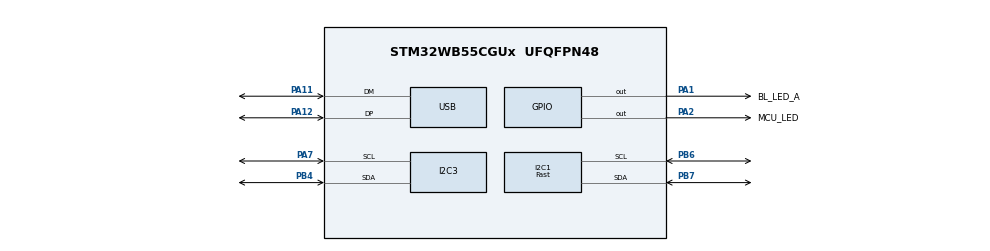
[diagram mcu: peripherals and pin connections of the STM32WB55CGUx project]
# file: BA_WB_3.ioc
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I2C1.I2C_Speed_Mode=I2C_Fast
I2C1.Timing=0x00C12166
I2C3.Timing=0x10B17DB5
Mcu.Family=STM32WB
Mcu.Name=STM32WB55CGUx
Mcu.Package=UFQFPN48
NVIC.HSEM_IRQn=true\:0\:0\:false\:false\:true\:false\:true\:true
NVIC.IPCC_C1_RX_IRQn=true\:0\:0\:false\:false\:true\:true\:true\:true
NVIC.IPCC_C1_TX_IRQn=true\:0\:0\:false\:false\:true\:true\:true\:true
NVIC.PriorityGroup=NVIC_PRIORITYGROUP_4
NVIC.USB_LP_IRQn=true\:0\:0\:false\:false\:true\:false\:true\:true
OSC_IN.Mode=HSE-External-Oscillator
OSC_IN.Signal=RCC_OSC_IN
OSC_OUT.Mode=HSE-External-Oscillator
OSC_OUT.Signal=RCC_OSC_OUT
PA1.GPIO_Label=BL_LED_A
PA1.Signal=GPIO_Output
PA11.Mode=Device
PA11.Signal=USB_DM
PA12.Mode=Device
PA12.Signal=USB_DP
PA13.Mode=Serial_Wire
PA13.Signal=SYS_JTMS-SWDIO
PA14.Mode=Serial_Wire
PA14.Signal=SYS_JTCK-SWCLK
PA2.GPIO_Label=MCU_LED
PA2.Signal=GPIO_Output
PA7.Mode=I2C
PA7.Signal=I2C3_SCL
PB3.Signal=SYS_JTDO-SWO
PB4.Mode=I2C
PB4.Signal=I2C3_SDA
PB6.Mode=I2C
PB6.Signal=I2C1_SCL
PB7.Mode=I2C
PB7.Signal=I2C1_SDA
PC14-OSC32_IN.Mode=LSE-External-Oscillator
PC14-OSC32_IN.Signal=RCC_OSC32_IN
PC15-OSC32_OUT.Mode=LSE-External-Oscillator
PC15-OSC32_OUT.Signal=RCC_OSC32_OUT
ProjectManager.HeapSize=0x200
ProjectManager.StackSize=0x400
ProjectManager.TargetToolchain=STM32CubeIDE
RCC.ADCFreq_Value=48000000
RCC.AHB2CLKDivider=RCC_SYSCLK_DIV2
RCC.AHBFreq_Value=64000000
RCC.APB1Freq_Value=64000000
RCC.APB1TimFreq_Value=64000000
RCC.APB2Freq_Value=64000000
RCC.APB2TimFreq_Value=64000000
RCC.APB3Freq_Value=16000000
RCC.CK48CLockSelection=RCC_USBCLKSOURCE_HSI48
RCC.CortexFreq_Value=64000000
RCC.HCLKFreq_Value=64000000
RCC.HSE_VALUE=32000000
RCC.HSI48_VALUE=48000000
RCC.HSI_VALUE=16000000
RCC.PLLN=32
RCC.PLLSAI1N=24
RCC.RTCClockSelection=RCC_RTCCLKSOURCE_LSE
RCC.SMPSCLockSelection=RCC_SMPSCLKSOURCE_HSE
RCC.SYSCLKFreq_VALUE=64000000
RCC.SYSCLKSource=RCC_SYSCLKSOURCE_PLLCLK
RCC.USBFreq_Value=48000000
RCC.VCOOutputFreq_Value=128000000
RF1.Mode=RF1_Activate
RF1.Signal=RF_RF1
STM32_WPAN.BT_SIG_BEACON=Disabled
STM32_WPAN.BT_SIG_HEALTH_THERMOMETER_SENSOR=Disabled
STM32_WPAN.BT_SIG_HEART_RATE_SENSOR=Disabled
STM32_WPAN.CFG_GAP_DEVICE_NAME=01ST
STM32_WPAN.CFG_IDENTITY_ADDRESS=GAP_PUBLIC_ADDR
STM32_WPAN.CFG_LSCLK_LSE=0
STM32_WPAN.CFG_TX_POWER=(0x1F) /* 6dBm */
STM32_WPAN.CFG_USE_SMPS=0
STM32_WPAN.CUSTOM_P2P_SERVER=Disabled
STM32_WPAN.CUSTOM_TEMPLATE=Enabled
STM32_WPAN.GAP_CENTRAL_ROLE=0
STM32_WPAN.GAP_OBSERVER_ROLE=0
STM32_WPAN.GAP_PERIPHERAL_ROLE=1
STM32_WPAN.INCLUDE_AD_TYPE_COMPLETE_LOCAL_NAME=1
STM32_WPAN.INCLUDE_AD_TYPE_SHORTENED_LOCAL_NAME=1
STM32_WPAN.INCLUDE_AD_TYPE_TX_POWER_LEVEL=1
STM32_WPAN.NUMBER_OF_SERVICES=1
STM32_WPAN.PAIRING_PARAMETERS=ON
STM32_WPAN.SERVICE1_CHAR1_LONG_NAME=BrathingAnalyzerWB55
STM32_WPAN.SERVICE1_CHAR1_PROP_INDICATE=CHAR_PROP_INDICATE
STM32_WPAN.SERVICE1_CHAR1_PROP_NOTIFY=CHAR_PROP_NOTIFY
STM32_WPAN.SERVICE1_CHAR1_PROP_READ=CHAR_PROP_READ
STM32_WPAN.SERVICE1_CHAR1_SHORT_NAME=BAWB55
STM32_WPAN.SERVICE1_CHAR1_UUID=A0 01
STM32_WPAN.SERVICE1_CHAR1_VALUE_LENGTH=20
STM32_WPAN.SERVICE1_LONG_NAME=BrathingAnalyzerService
STM32_WPAN.SERVICE1_SHORT_NAME=BASERV
STM32_WPAN.STATIC_RANDOM_ADDRESS=0x0
USB_DEVICE.CLASS_NAME_FS=CDC
USB_DEVICE.MANUFACTURER_STRING=Politechinka Gdanska
USB_DEVICE.PID_CDC_FS=5745
USB_DEVICE.PRODUCT_STRING_CDC_FS=BreathingAnalyzer1
USB_DEVICE.USBD_LPM_ENABLED=0
USB_DEVICE.USBD_SELF_POWERED=0
USB_DEVICE.VID=485
USB_DEVICE.VirtualMode=Cdc
USB_DEVICE.VirtualModeFS=Cdc_FS
VP_HSEM_VS_HSEM.Mode=HSEM_Activate
VP_IPCC_VS_IPCC.Mode=IPCC_Activate
VP_MEMORYMAP_VS_MEMORYMAP.Mode=CurAppReg
VP_RTC_VS_RTC_Activate.Mode=RTC_Enabled
VP_SEQUENCER_VS_SEQUENCER.Mode=SEQUENCER_Enabled
VP_STM32_WPAN_VS_BLE_HOST.Mode=STM32_WPAN_Enabled
VP_TINY_LPM_VS_TINY_LPM.Mode=TINY_LPM_Enabled
VP_USB_DEVICE_VS_USB_DEVICE_CDC_FS.Mode=CDC_FS
board=custom

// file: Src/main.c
/* USER CODE BEGIN Header */
/**
  ******************************************************************************
  * @file           : main.c
  * @brief          : Main program body
  ******************************************************************************
  * @attention
  *
  * Copyright (c) 2026 STMicroelectronics.
  * All rights reserved.
  *
  * This software is licensed under terms that can be found in the LICENSE file
  * in the root directory of this software component.
  * If no LICENSE file comes with this software, it is provided AS-IS.
  *
  ******************************************************************************
  */
/* USER CODE END Header */
#include "main.h"
#include "usb_device.h"

/* USER CODE BEGIN Includes */
#include "nau7802.h"
#include "custom_app.h"
/* USER CODE END Includes */

I2C_HandleTypeDef hi2c1;
I2C_HandleTypeDef hi2c3;

IPCC_HandleTypeDef hipcc;

RTC_HandleTypeDef hrtc;

/* USER CODE BEGIN PV */
NAU7802_HandleTypeDef nau1;
NAU7802_HandleTypeDef nau2;

int32_t nau1_raw = 0;
int32_t nau2_raw = 0;

uint8_t nau1_ok = 0;
uint8_t nau2_ok = 0;

volatile uint32_t nau1_read_ok_count = 0;
volatile uint32_t nau2_read_ok_count = 0;

volatile uint32_t nau1_read_error_count = 0;
volatile uint32_t nau2_read_error_count = 0;

volatile uint32_t nau1_not_ready_count = 0;
volatile uint32_t nau2_not_ready_count = 0;

volatile uint32_t main_loop_count = 0;

volatile uint32_t nau1_last_read_tick = 0;
volatile uint32_t nau2_last_read_tick = 0;

volatile uint32_t nau1_last_ok_tick = 0;
volatile uint32_t nau2_last_ok_tick = 0;

volatile uint32_t send_last_tick = 0;

static uint32_t consumed_ch1_count = 0;
static uint32_t consumed_ch2_count = 0;
//NAU7802_HandleTypeDef nau1;
//NAU7802_HandleTypeDef nau2;
//
//int32_t nau1_raw = 0;
//int32_t nau2_raw = 0;
//
//uint8_t nau1_ok = 0;
//uint8_t nau2_ok = 0;
//
//volatile uint32_t nau1_read_ok_count = 0;
//volatile uint32_t nau2_read_ok_count = 0;
//volatile uint32_t nau1_read_error_count = 0;
//volatile uint32_t nau2_read_error_count = 0;
//volatile uint32_t nau1_not_ready_count = 0;
//volatile uint32_t main_loop_count = 0;
//volatile uint32_t nau1_last_read_tick = 0;
//volatile uint32_t nau1_last_ok_tick = 0;
/* USER CODE END PV */

void SystemClock_Config(void);
void PeriphCommonClock_Config(void);
static void MX_GPIO_Init(void);
static void MX_I2C1_Init(void);
static void MX_I2C3_Init(void);
static void MX_IPCC_Init(void);
static void MX_RTC_Init(void);
static void MX_RF_Init(void);

int main(void)
{

  /* MCU Configuration--------------------------------------------------------*/

  /* Reset of all peripherals, Initializes the Flash interface and the Systick. */
  HAL_Init();
  /* Config code for STM32_WPAN (HSE Tuning must be done before system clock configuration) */
  MX_APPE_Config();

  /* Configure the system clock */
  SystemClock_Config();

  /* Configure the peripherals common clocks */
  PeriphCommonClock_Config();

  /* IPCC initialisation */
  MX_IPCC_Init();

  /* Initialize all configured peripherals */
  MX_GPIO_Init();
  MX_I2C1_Init();
  MX_I2C3_Init();
  MX_RTC_Init();
  MX_USB_Device_Init();
  MX_RF_Init();
  /* USER CODE BEGIN 2 */
  HAL_Delay(100);

  /*
   * ADC 1 - I2C1
   */
  if (NAU7802_Init(&nau1, &hi2c1) == NAU7802_OK)
  {
      nau1_ok = 1;
      NAU7802_DumpRegisters(&nau1);
  }
  else
  {
      nau1_ok = 0;
  }
  if (NAU7802_Init(&nau2, &hi2c3) == NAU7802_OK)
  {
      nau2_ok = 1;
      NAU7802_DumpRegisters(&nau2);
  }
  else
  {
      nau2_ok = 0;
  }
  /* USER CODE END 2 */

  /* Init code for STM32_WPAN */
  MX_APPE_Init();

  /* Infinite loop */
  /* USER CODE BEGIN WHILE */
  while (1)
  {
	     if ((HAL_GetTick() - nau1_last_read_tick) >= 100)
	     {
	         nau1_last_read_tick = HAL_GetTick();

	         if (nau1_ok)
	         {
	             NAU7802_Status result = NAU7802_ReadRawBlocking(&nau1, &nau1_raw, 50);

	             if (result == NAU7802_OK)
	             {
	                 nau1_read_ok_count++;
	                 nau1_last_ok_tick = HAL_GetTick();

	             }
	             else if (result == NAU7802_NOT_READY || result == NAU7802_TIMEOUT)
	             {
	                 nau1_not_ready_count++;
	             }
	             else
	             {
	                 nau1_read_error_count++;
	             }
	         }
	     }
		  if ((HAL_GetTick() - nau2_last_read_tick) >= 100)
		  {
		      nau2_last_read_tick = HAL_GetTick();

		      if (nau2_ok)
		      {
		          NAU7802_Status result = NAU7802_ReadRawBlocking(&nau2, &nau2_raw, 50);

		          if (result == NAU7802_OK)
		          {
		              nau2_read_ok_count++;
		              nau2_last_ok_tick = HAL_GetTick();

		          }
		          else if (result == NAU7802_NOT_READY || result == NAU7802_TIMEOUT)
		          {
		              nau2_not_ready_count++;
		          }
		          else
		          {
		              nau2_read_error_count++;
		          }
		      }
		  }
		  if ((HAL_GetTick() - send_last_tick) >= 100)
		  {
		      send_last_tick = HAL_GetTick();
              if(nau1_ok && nau2_ok &&
                 nau1_read_ok_count != consumed_ch1_count &&
                 nau2_read_ok_count != consumed_ch2_count) {
                  Custom_APP_SendAdcValue(nau1_raw, nau2_raw);
              } else {
                  Custom_APP_AdcGap();
              }
              consumed_ch1_count = nau1_read_ok_count;
              consumed_ch2_count = nau2_read_ok_count;
		  }
    /* USER CODE END WHILE */
    MX_APPE_Process();

    /* USER CODE BEGIN 3 */
    Custom_APP_Process();
  }
  /* USER CODE END 3 */
}

void SystemClock_Config(void)
{
  RCC_OscInitTypeDef RCC_OscInitStruct = {0};
  RCC_ClkInitTypeDef RCC_ClkInitStruct = {0};

  /** Configure LSE Drive Capability
  */
  HAL_PWR_EnableBkUpAccess();
  __HAL_RCC_LSEDRIVE_CONFIG(RCC_LSEDRIVE_MEDIUMHIGH);

  /** Configure the main internal regulator output voltage
  */
  __HAL_PWR_VOLTAGESCALING_CONFIG(PWR_REGULATOR_VOLTAGE_SCALE1);

  /** Initializes the RCC Oscillators according to the specified parameters
  * in the RCC_OscInitTypeDef structure.
  */
  RCC_OscInitStruct.OscillatorType = RCC_OSCILLATORTYPE_HSI48|RCC_OSCILLATORTYPE_HSI
                              |RCC_OSCILLATORTYPE_HSE|RCC_OSCILLATORTYPE_LSE
                              |RCC_OSCILLATORTYPE_MSI;
  RCC_OscInitStruct.HSEState = RCC_HSE_ON;
  RCC_OscInitStruct.LSEState = RCC_LSE_ON;
  RCC_OscInitStruct.HSIState = RCC_HSI_ON;
  RCC_OscInitStruct.MSIState = RCC_MSI_ON;
  RCC_OscInitStruct.HSI48State = RCC_HSI48_ON;
  RCC_OscInitStruct.HSICalibrationValue = RCC_HSICALIBRATION_DEFAULT;
  RCC_OscInitStruct.MSICalibrationValue = RCC_MSICALIBRATION_DEFAULT;
  RCC_OscInitStruct.MSIClockRange = RCC_MSIRANGE_6;
  RCC_OscInitStruct.PLL.PLLState = RCC_PLL_ON;
  RCC_OscInitStruct.PLL.PLLSource = RCC_PLLSOURCE_MSI;
  RCC_OscInitStruct.PLL.PLLM = RCC_PLLM_DIV1;
  RCC_OscInitStruct.PLL.PLLN = 32;
  RCC_OscInitStruct.PLL.PLLP = RCC_PLLP_DIV2;
  RCC_OscInitStruct.PLL.PLLR = RCC_PLLR_DIV2;
  RCC_OscInitStruct.PLL.PLLQ = RCC_PLLQ_DIV2;
  if (HAL_RCC_OscConfig(&RCC_OscInitStruct) != HAL_OK)
  {
    Error_Handler();
  }

  /** Configure the SYSCLKSource, HCLK, PCLK1 and PCLK2 clocks dividers
  */
  RCC_ClkInitStruct.ClockType = RCC_CLOCKTYPE_HCLK4|RCC_CLOCKTYPE_HCLK2
                              |RCC_CLOCKTYPE_HCLK|RCC_CLOCKTYPE_SYSCLK
                              |RCC_CLOCKTYPE_PCLK1|RCC_CLOCKTYPE_PCLK2;
  RCC_ClkInitStruct.SYSCLKSource = RCC_SYSCLKSOURCE_PLLCLK;
  RCC_ClkInitStruct.AHBCLKDivider = RCC_SYSCLK_DIV1;
  RCC_ClkInitStruct.APB1CLKDivider = RCC_HCLK_DIV1;
  RCC_ClkInitStruct.APB2CLKDivider = RCC_HCLK_DIV1;
  RCC_ClkInitStruct.AHBCLK2Divider = RCC_SYSCLK_DIV2;
  RCC_ClkInitStruct.AHBCLK4Divider = RCC_SYSCLK_DIV1;

  if (HAL_RCC_ClockConfig(&RCC_ClkInitStruct, FLASH_LATENCY_3) != HAL_OK)
  {
    Error_Handler();
  }
}

void PeriphCommonClock_Config(void)
{
  RCC_PeriphCLKInitTypeDef PeriphClkInitStruct = {0};

  /** Initializes the peripherals clock
  */
  PeriphClkInitStruct.PeriphClockSelection = RCC_PERIPHCLK_SMPS|RCC_PERIPHCLK_RFWAKEUP;
  PeriphClkInitStruct.RFWakeUpClockSelection = RCC_RFWKPCLKSOURCE_HSE_DIV1024;
  PeriphClkInitStruct.SmpsClockSelection = RCC_SMPSCLKSOURCE_HSE;
  PeriphClkInitStruct.SmpsDivSelection = RCC_SMPSCLKDIV_RANGE0;

  if (HAL_RCCEx_PeriphCLKConfig(&PeriphClkInitStruct) != HAL_OK)
  {
    Error_Handler();
  }
}

static void MX_I2C1_Init(void)
{

  hi2c1.Instance = I2C1;
  hi2c1.Init.Timing = 0x00C12166;
  hi2c1.Init.OwnAddress1 = 0;
  hi2c1.Init.AddressingMode = I2C_ADDRESSINGMODE_7BIT;
  hi2c1.Init.DualAddressMode = I2C_DUALADDRESS_DISABLE;
  hi2c1.Init.OwnAddress2 = 0;
  hi2c1.Init.OwnAddress2Masks = I2C_OA2_NOMASK;
  hi2c1.Init.GeneralCallMode = I2C_GENERALCALL_DISABLE;
  hi2c1.Init.NoStretchMode = I2C_NOSTRETCH_DISABLE;
  if (HAL_I2C_Init(&hi2c1) != HAL_OK)
  {
    Error_Handler();
  }

  /** Configure Analogue filter
  */
  if (HAL_I2CEx_ConfigAnalogFilter(&hi2c1, I2C_ANALOGFILTER_ENABLE) != HAL_OK)
  {
    Error_Handler();
  }

  /** Configure Digital filter
  */
  if (HAL_I2CEx_ConfigDigitalFilter(&hi2c1, 0) != HAL_OK)
  {
    Error_Handler();
  }

}

static void MX_I2C3_Init(void)
{

  hi2c3.Instance = I2C3;
  hi2c3.Init.Timing = 0x10B17DB5;
  hi2c3.Init.OwnAddress1 = 0;
  hi2c3.Init.AddressingMode = I2C_ADDRESSINGMODE_7BIT;
  hi2c3.Init.DualAddressMode = I2C_DUALADDRESS_DISABLE;
  hi2c3.Init.OwnAddress2 = 0;
  hi2c3.Init.OwnAddress2Masks = I2C_OA2_NOMASK;
  hi2c3.Init.GeneralCallMode = I2C_GENERALCALL_DISABLE;
  hi2c3.Init.NoStretchMode = I2C_NOSTRETCH_DISABLE;
  if (HAL_I2C_Init(&hi2c3) != HAL_OK)
  {
    Error_Handler();
  }

  /** Configure Analogue filter
  */
  if (HAL_I2CEx_ConfigAnalogFilter(&hi2c3, I2C_ANALOGFILTER_ENABLE) != HAL_OK)
  {
    Error_Handler();
  }

  /** Configure Digital filter
  */
  if (HAL_I2CEx_ConfigDigitalFilter(&hi2c3, 0) != HAL_OK)
  {
    Error_Handler();
  }

}

static void MX_IPCC_Init(void)
{

  hipcc.Instance = IPCC;
  if (HAL_IPCC_Init(&hipcc) != HAL_OK)
  {
    Error_Handler();
  }

}

static void MX_RF_Init(void)
{

}

static void MX_RTC_Init(void)
{

  /** Initialize RTC Only
  */
  hrtc.Instance = RTC;
  hrtc.Init.HourFormat = RTC_HOURFORMAT_24;
  hrtc.Init.AsynchPrediv = CFG_RTC_ASYNCH_PRESCALER;
  hrtc.Init.SynchPrediv = CFG_RTC_SYNCH_PRESCALER;
  hrtc.Init.OutPut = RTC_OUTPUT_DISABLE;
  hrtc.Init.OutPutPolarity = RTC_OUTPUT_POLARITY_HIGH;
  hrtc.Init.OutPutType = RTC_OUTPUT_TYPE_OPENDRAIN;
  hrtc.Init.OutPutRemap = RTC_OUTPUT_REMAP_NONE;
  if (HAL_RTC_Init(&hrtc) != HAL_OK)
  {
    Error_Handler();
  }

}

static void MX_GPIO_Init(void)
{
  GPIO_InitTypeDef GPIO_InitStruct = {0};

  /* GPIO Ports Clock Enable */
  __HAL_RCC_GPIOC_CLK_ENABLE();
  __HAL_RCC_GPIOA_CLK_ENABLE();
  __HAL_RCC_GPIOB_CLK_ENABLE();

  /*Configure GPIO pin Output Level */
  HAL_GPIO_WritePin(GPIOA, BL_LED_A_Pin|MCU_LED_Pin, GPIO_PIN_RESET);

  /*Configure GPIO pins : BL_LED_A_Pin MCU_LED_Pin */
  GPIO_InitStruct.Pin = BL_LED_A_Pin|MCU_LED_Pin;
  GPIO_InitStruct.Mode = GPIO_MODE_OUTPUT_PP;
  GPIO_InitStruct.Pull = GPIO_NOPULL;
  GPIO_InitStruct.Speed = GPIO_SPEED_FREQ_LOW;
  HAL_GPIO_Init(GPIOA, &GPIO_InitStruct);

}

void Error_Handler(void)
{
  __disable_irq();
  while (1)
  {
  }
}
